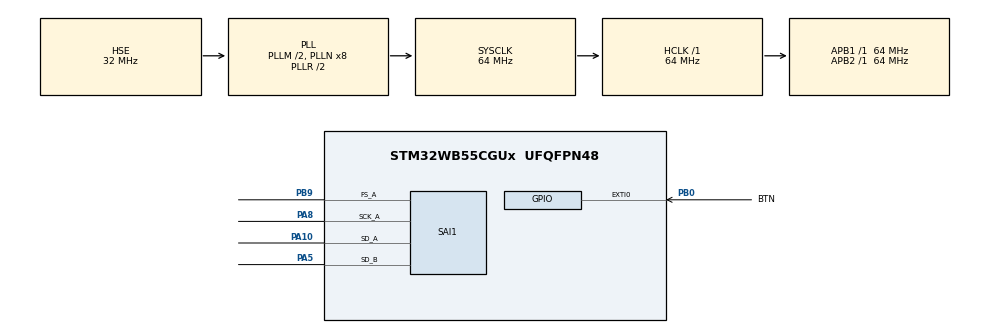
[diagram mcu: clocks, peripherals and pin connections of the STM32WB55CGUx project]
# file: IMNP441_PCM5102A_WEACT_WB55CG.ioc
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Dma.Request0=SAI1_A
Dma.Request1=SAI1_B
Dma.SAI1_A.0.Direction=DMA_MEMORY_TO_PERIPH
Dma.SAI1_A.0.EventEnable=DISABLE
Dma.SAI1_A.0.Instance=DMA1_Channel1
Dma.SAI1_A.0.MemDataAlignment=DMA_MDATAALIGN_WORD
Dma.SAI1_A.0.MemInc=DMA_MINC_ENABLE
Dma.SAI1_A.0.Mode=DMA_CIRCULAR
Dma.SAI1_A.0.PeriphDataAlignment=DMA_PDATAALIGN_WORD
Dma.SAI1_A.0.PeriphInc=DMA_PINC_DISABLE
Dma.SAI1_A.0.Polarity=HAL_DMAMUX_REQ_GEN_RISING
Dma.SAI1_A.0.Priority=DMA_PRIORITY_HIGH
Dma.SAI1_A.0.RequestNumber=1
Dma.SAI1_A.0.SignalID=NONE
Dma.SAI1_A.0.SyncEnable=DISABLE
Dma.SAI1_A.0.SyncPolarity=HAL_DMAMUX_SYNC_NO_EVENT
Dma.SAI1_A.0.SyncRequestNumber=1
Dma.SAI1_A.0.SyncSignalID=NONE
Dma.SAI1_B.1.Direction=DMA_PERIPH_TO_MEMORY
Dma.SAI1_B.1.EventEnable=DISABLE
Dma.SAI1_B.1.Instance=DMA1_Channel2
Dma.SAI1_B.1.MemDataAlignment=DMA_MDATAALIGN_WORD
Dma.SAI1_B.1.MemInc=DMA_MINC_ENABLE
Dma.SAI1_B.1.Mode=DMA_CIRCULAR
Dma.SAI1_B.1.PeriphDataAlignment=DMA_PDATAALIGN_WORD
Dma.SAI1_B.1.PeriphInc=DMA_PINC_DISABLE
Dma.SAI1_B.1.Polarity=HAL_DMAMUX_REQ_GEN_RISING
Dma.SAI1_B.1.Priority=DMA_PRIORITY_LOW
Dma.SAI1_B.1.RequestNumber=1
Dma.SAI1_B.1.SignalID=NONE
Dma.SAI1_B.1.SyncEnable=DISABLE
Dma.SAI1_B.1.SyncPolarity=HAL_DMAMUX_SYNC_NO_EVENT
Dma.SAI1_B.1.SyncRequestNumber=1
Dma.SAI1_B.1.SyncSignalID=NONE
Mcu.Family=STM32WB
Mcu.Name=STM32WB55CGUx
Mcu.Package=UFQFPN48
NVIC.DMA1_Channel1_IRQn=true\:0\:0\:false\:false\:true\:false\:true\:true
NVIC.DMA1_Channel2_IRQn=true\:0\:0\:false\:false\:true\:false\:true\:true
NVIC.EXTI0_IRQn=true\:0\:0\:false\:false\:true\:true\:true\:true
NVIC.PriorityGroup=NVIC_PRIORITYGROUP_4
OSC_IN.Mode=HSE-External-Oscillator
OSC_IN.Signal=RCC_OSC_IN
OSC_OUT.Mode=HSE-External-Oscillator
OSC_OUT.Signal=RCC_OSC_OUT
PA10.Mode=SAI_A_Master
PA10.Signal=SAI1_SD_A
PA5.Mode=SAI_B_SyncSlave
PA5.Signal=SAI1_SD_B
PA8.Mode=SAI_A_Master
PA8.Signal=SAI1_SCK_A
PB0.GPIO_Label=BTN
PB0.GPIO_ModeDefaultEXTI=GPIO_MODE_IT_RISING_FALLING
PB0.GPIO_PuPd=GPIO_PULLDOWN
PB0.Signal=GPXTI0
PB9.Mode=SAI_A_Master
PB9.Signal=SAI1_FS_A
ProjectManager.HeapSize=0x200
ProjectManager.StackSize=0x400
ProjectManager.TargetToolchain=STM32CubeIDE
RCC.ADCFreq_Value=64000000
RCC.AHB2CLKDivider=RCC_SYSCLK_DIV2
RCC.AHBFreq_Value=64000000
RCC.APB1Freq_Value=64000000
RCC.APB1TimFreq_Value=64000000
RCC.APB2Freq_Value=64000000
RCC.APB2TimFreq_Value=64000000
RCC.APB3Freq_Value=16000000
RCC.Cortex2_Div=SYSTICK_CLKSOURCE_HCLK_DIV8
RCC.CortexFreq_Value=64000000
RCC.HCLKFreq_Value=64000000
RCC.HSE_VALUE=32000000
RCC.HSI48_VALUE=48000000
RCC.HSI_VALUE=16000000
RCC.LSE_VALUE=32768
RCC.PLLM=RCC_PLLM_DIV2
RCC.PLLSourceVirtual=RCC_PLLSOURCE_HSE
RCC.SYSCLKFreq_VALUE=64000000
RCC.SYSCLKSource=RCC_SYSCLKSOURCE_PLLCLK
RCC.USBFreq_Value=64000000
RCC.VCOOutputFreq_Value=128000000
SAI1.AudioFrequency-SAI_A_Master=SAI_AUDIO_FREQUENCY_16K
SAI1.AudioMode-SAI_A_Master=SAI_MODEMASTER_TX
SAI1.BasicDataSize-SAI_A_Master=SAI_PROTOCOL_DATASIZE_32BIT
SAI1.BasicDataSize-SAI_B_SyncSlave=SAI_PROTOCOL_DATASIZE_32BIT
SAI1.ErrorAudioFreq-SAI_A_Master=-2.34 %
SAI1.FIFOThreshold-SAI_A_Master=SAI_FIFOTHRESHOLD_HF
SAI1.FIFOThreshold-SAI_B_SyncSlave=SAI_FIFOTHRESHOLD_HF
SAI1.InitProtocol-SAI_A_Master=Enable
SAI1.InitProtocol-SAI_B_SyncSlave=Enable
SAI1.Instance-SAI_A_Master=SAI$Index_Block_A
SAI1.Instance-SAI_B_SyncSlave=SAI$Index_Block_B
SAI1.MClockEnable-SAI_A_Master=SAI_MASTERCLOCK_DISABLE
SAI1.OutputDrive-SAI_A_Master=SAI_OUTPUTDRIVE_ENABLE
SAI1.RealAudioFreq-SAI_A_Master=15.625 KHz
SAI1.VirtualMode-SAI_A_Master=VM_MASTER
SAI1.VirtualMode-SAI_B_SyncSlave=VM_SLAVE
SAI1.VirtualProtocol-SAI_A_BASIC=VM_BASIC_PROTOCOL
SAI1.VirtualProtocol-SAI_B_BASIC=VM_BASIC_PROTOCOL
VP_MEMORYMAP_VS_MEMORYMAP.Mode=CurAppReg
VP_SAI1_VP_$IpInstance_SAIA_SAI_BASIC.Mode=SAI_A_BASIC
VP_SAI1_VP_$IpInstance_SAIB_SAI_BASIC.Mode=SAI_B_BASIC
board=custom

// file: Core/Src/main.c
/* USER CODE BEGIN Header */
/**
  ******************************************************************************
  * @file           : main.c
  * @brief          : Main program body
  ******************************************************************************
  * @attention
  *
  * Copyright (c) 2026 STMicroelectronics.
  * All rights reserved.
  *
  * This software is licensed under terms that can be found in the LICENSE file
  * in the root directory of this software component.
  * If no LICENSE file comes with this software, it is provided AS-IS.
  *
  ******************************************************************************
  */
/* USER CODE END Header */
#include "main.h"

/* USER CODE BEGIN Includes */
#include <stdbool.h>
#include <string.h>
/* USER CODE END Includes */

/* USER CODE BEGIN PTD */

typedef enum {
  AUDIO_IDLE      = 0,
  AUDIO_RECORDING = 1,
  AUDIO_PLAYBACK  = 2,
} AudioState_t;

typedef struct {
  AudioState_t state;
  uint32_t    head;   /* next write index in record_buf */
  uint32_t    length; /* frozen length after recording ends */
  uint32_t    pos;    /* next read index during playback */
} Audio_t;

/* Mono 16 kHz capture, 32-bit samples. 2.5 s of recording = 160 KB.
 * Lower RECORD_LEN if the linker reports RAM overflow. */
#define RECORD_LEN            40000U

/* Each DMA half is 128 int32_t = 64 stereo frames at 32-bit I2S. */
#define HALF_BUF_LEN          128U
#define HALF_BUF_FRAMES       (HALF_BUF_LEN / 2U)

typedef struct {
  int32_t mic[HALF_BUF_LEN * 2U];   /* double-buffer, 2 halves for DMA ping-pong */
  int32_t tx [HALF_BUF_LEN * 2U];
  int32_t record[RECORD_LEN];
} AudioBuffer_t;

typedef struct {
  uint8_t level;      /* current reading, updated by EXTI */
  uint8_t prev_level; /* previous reading, for edge detection */
} Button_t;

/* USER CODE END PTD */

/* USER CODE BEGIN PD */

#define BTN_ACTIVE_LEVEL      GPIO_PIN_SET   /* PB0 reads HIGH when pressed */

/* USER CODE END PD */

SAI_HandleTypeDef hsai_BlockA1;
SAI_HandleTypeDef hsai_BlockB1;
DMA_HandleTypeDef hdma_sai1_a;
DMA_HandleTypeDef hdma_sai1_b;

/* USER CODE BEGIN PV */
AudioBuffer_t audio_buf = { 0 };

/* Shared between main loop, SAI RX callbacks, and EXTI callback.
 * volatile is needed for fields written by ISRs and read by main loop;
 * 32-bit aligned word access is atomic on Cortex-M4. */
volatile Audio_t  audio   = { .state = AUDIO_IDLE, .head = 0U, .length = 0U, .pos = 0U };
volatile Button_t button  = { .level = 0U, .prev_level = 0U };
/* USER CODE END PV */

void SystemClock_Config(void);
void PeriphCommonClock_Config(void);
static void MX_GPIO_Init(void);
static void MX_DMA_Init(void);
static void MX_SAI1_Init(void);

/* USER CODE BEGIN 0 */

void HAL_GPIO_EXTI_Callback(uint16_t GPIO_Pin)
{
  if (GPIO_Pin == BTN_Pin) {
    button.level = (HAL_GPIO_ReadPin(BTN_GPIO_Port, BTN_Pin) == BTN_ACTIVE_LEVEL) ? 1U : 0U;
  }
}

/* USER CODE END 0 */

int main(void)
{

  /* MCU Configuration--------------------------------------------------------*/

  /* Reset of all peripherals, Initializes the Flash interface and the Systick. */
  HAL_Init();

  /* Configure the system clock */
  SystemClock_Config();

  /* Configure the peripherals common clocks */
  PeriphCommonClock_Config();

  /* Initialize all configured peripherals */
  MX_GPIO_Init();
  MX_DMA_Init();
  MX_SAI1_Init();
  /* USER CODE BEGIN 2 */

  /* PB0 is already configured as a pull-down input by MX_GPIO_Init. */
  memset(audio_buf.tx, 0, sizeof(audio_buf.tx));

  HAL_SAI_Transmit_DMA(&hsai_BlockA1, (uint8_t *)audio_buf.tx, HALF_BUF_LEN * 2U);
  HAL_SAI_Receive_DMA(&hsai_BlockB1, (uint8_t *)audio_buf.mic, HALF_BUF_LEN * 2U);

  /* USER CODE END 2 */

  /* Infinite loop */
  /* USER CODE BEGIN WHILE */
  while (1)
  {
    /* button.level is updated by HAL_GPIO_EXTI_Callback. Reads here are atomic. */
    const uint8_t level       = button.level;
    const uint8_t prev_level  = button.prev_level;
    const bool    pressed     = (level == 1U) && (prev_level == 0U);
    const bool    released    = (level == 0U) && (prev_level == 1U);

    if (pressed && (audio.state == AUDIO_IDLE)) {
      audio.head  = 0U;
      audio.state = AUDIO_RECORDING;
    }
    else if (released && (audio.state == AUDIO_RECORDING)) {
      audio.length = audio.head;
      audio.pos    = 0U;
      audio.state  = AUDIO_PLAYBACK;
    }
    else if ((audio.state == AUDIO_PLAYBACK) && (audio.pos >= audio.length)) {
      audio.state = AUDIO_IDLE;
    }

    button.prev_level = level;

    /* Sleep until the next button edge or SAI half-transfer event. */
    __WFI();

    /* USER CODE END WHILE */

  }
}

void SystemClock_Config(void)
{
  RCC_OscInitTypeDef RCC_OscInitStruct = {0};
  RCC_ClkInitTypeDef RCC_ClkInitStruct = {0};

  /** Configure the main internal regulator output voltage
  */
  __HAL_PWR_VOLTAGESCALING_CONFIG(PWR_REGULATOR_VOLTAGE_SCALE1);

  /** Initializes the RCC Oscillators according to the specified parameters
  * in the RCC_OscInitTypeDef structure.
  */
  RCC_OscInitStruct.OscillatorType = RCC_OSCILLATORTYPE_HSI|RCC_OSCILLATORTYPE_HSE;
  RCC_OscInitStruct.HSEState = RCC_HSE_ON;
  RCC_OscInitStruct.HSIState = RCC_HSI_ON;
  RCC_OscInitStruct.HSICalibrationValue = RCC_HSICALIBRATION_DEFAULT;
  RCC_OscInitStruct.PLL.PLLState = RCC_PLL_ON;
  RCC_OscInitStruct.PLL.PLLSource = RCC_PLLSOURCE_HSE;
  RCC_OscInitStruct.PLL.PLLM = RCC_PLLM_DIV2;
  RCC_OscInitStruct.PLL.PLLN = 8;
  RCC_OscInitStruct.PLL.PLLP = RCC_PLLP_DIV2;
  RCC_OscInitStruct.PLL.PLLR = RCC_PLLR_DIV2;
  RCC_OscInitStruct.PLL.PLLQ = RCC_PLLQ_DIV2;
  if (HAL_RCC_OscConfig(&RCC_OscInitStruct) != HAL_OK)
  {
    Error_Handler();
  }

  /** Configure the SYSCLKSource, HCLK, PCLK1 and PCLK2 clocks dividers
  */
  RCC_ClkInitStruct.ClockType = RCC_CLOCKTYPE_HCLK4|RCC_CLOCKTYPE_HCLK2
                              |RCC_CLOCKTYPE_HCLK|RCC_CLOCKTYPE_SYSCLK
                              |RCC_CLOCKTYPE_PCLK1|RCC_CLOCKTYPE_PCLK2;
  RCC_ClkInitStruct.SYSCLKSource = RCC_SYSCLKSOURCE_PLLCLK;
  RCC_ClkInitStruct.AHBCLKDivider = RCC_SYSCLK_DIV1;
  RCC_ClkInitStruct.APB1CLKDivider = RCC_HCLK_DIV1;
  RCC_ClkInitStruct.APB2CLKDivider = RCC_HCLK_DIV1;
  RCC_ClkInitStruct.AHBCLK2Divider = RCC_SYSCLK_DIV2;
  RCC_ClkInitStruct.AHBCLK4Divider = RCC_SYSCLK_DIV1;

  if (HAL_RCC_ClockConfig(&RCC_ClkInitStruct, FLASH_LATENCY_3) != HAL_OK)
  {
    Error_Handler();
  }
}

void PeriphCommonClock_Config(void)
{
  RCC_PeriphCLKInitTypeDef PeriphClkInitStruct = {0};

  /** Initializes the peripherals clock
  */
  PeriphClkInitStruct.PeriphClockSelection = RCC_PERIPHCLK_SMPS|RCC_PERIPHCLK_SAI1;
  PeriphClkInitStruct.PLLSAI1.PLLN = 8;
  PeriphClkInitStruct.PLLSAI1.PLLP = RCC_PLLP_DIV2;
  PeriphClkInitStruct.PLLSAI1.PLLQ = RCC_PLLQ_DIV2;
  PeriphClkInitStruct.PLLSAI1.PLLR = RCC_PLLR_DIV2;
  PeriphClkInitStruct.PLLSAI1.PLLSAI1ClockOut = RCC_PLLSAI1_SAI1CLK;
  PeriphClkInitStruct.Sai1ClockSelection = RCC_SAI1CLKSOURCE_PLLSAI1;
  PeriphClkInitStruct.SmpsClockSelection = RCC_SMPSCLKSOURCE_HSI;
  PeriphClkInitStruct.SmpsDivSelection = RCC_SMPSCLKDIV_RANGE1;

  if (HAL_RCCEx_PeriphCLKConfig(&PeriphClkInitStruct) != HAL_OK)
  {
    Error_Handler();
  }
}

static void MX_SAI1_Init(void)
{

  hsai_BlockA1.Instance = SAI1_Block_A;
  hsai_BlockA1.Init.AudioMode = SAI_MODEMASTER_TX;
  hsai_BlockA1.Init.Synchro = SAI_ASYNCHRONOUS;
  hsai_BlockA1.Init.OutputDrive = SAI_OUTPUTDRIVE_ENABLE;
  hsai_BlockA1.Init.NoDivider = SAI_MASTERDIVIDER_ENABLE;
  hsai_BlockA1.Init.MckOverSampling = SAI_MCK_OVERSAMPLING_DISABLE;
  hsai_BlockA1.Init.FIFOThreshold = SAI_FIFOTHRESHOLD_HF;
  hsai_BlockA1.Init.AudioFrequency = SAI_AUDIO_FREQUENCY_16K;
  hsai_BlockA1.Init.SynchroExt = SAI_SYNCEXT_DISABLE;
  hsai_BlockA1.Init.MonoStereoMode = SAI_STEREOMODE;
  hsai_BlockA1.Init.CompandingMode = SAI_NOCOMPANDING;
  hsai_BlockA1.Init.TriState = SAI_OUTPUT_NOTRELEASED;
  if (HAL_SAI_InitProtocol(&hsai_BlockA1, SAI_I2S_STANDARD, SAI_PROTOCOL_DATASIZE_32BIT, 2) != HAL_OK)
  {
    Error_Handler();
  }
  hsai_BlockB1.Instance = SAI1_Block_B;
  hsai_BlockB1.Init.AudioMode = SAI_MODESLAVE_RX;
  hsai_BlockB1.Init.Synchro = SAI_SYNCHRONOUS;
  hsai_BlockB1.Init.OutputDrive = SAI_OUTPUTDRIVE_DISABLE;
  hsai_BlockB1.Init.FIFOThreshold = SAI_FIFOTHRESHOLD_HF;
  hsai_BlockB1.Init.SynchroExt = SAI_SYNCEXT_DISABLE;
  hsai_BlockB1.Init.MonoStereoMode = SAI_STEREOMODE;
  hsai_BlockB1.Init.CompandingMode = SAI_NOCOMPANDING;
  hsai_BlockB1.Init.TriState = SAI_OUTPUT_NOTRELEASED;
  if (HAL_SAI_InitProtocol(&hsai_BlockB1, SAI_I2S_STANDARD, SAI_PROTOCOL_DATASIZE_32BIT, 2) != HAL_OK)
  {
    Error_Handler();
  }

}

static void MX_DMA_Init(void)
{

  /* DMA controller clock enable */
  __HAL_RCC_DMAMUX1_CLK_ENABLE();
  __HAL_RCC_DMA1_CLK_ENABLE();

  /* DMA interrupt init */
  /* DMA1_Channel1_IRQn interrupt configuration */
  HAL_NVIC_SetPriority(DMA1_Channel1_IRQn, 0, 0);
  HAL_NVIC_EnableIRQ(DMA1_Channel1_IRQn);
  /* DMA1_Channel2_IRQn interrupt configuration */
  HAL_NVIC_SetPriority(DMA1_Channel2_IRQn, 0, 0);
  HAL_NVIC_EnableIRQ(DMA1_Channel2_IRQn);

}

static void MX_GPIO_Init(void)
{
  GPIO_InitTypeDef GPIO_InitStruct = {0};

  /* GPIO Ports Clock Enable */
  __HAL_RCC_GPIOB_CLK_ENABLE();
  __HAL_RCC_GPIOA_CLK_ENABLE();

  /*Configure GPIO pin : BTN_Pin */
  GPIO_InitStruct.Pin = BTN_Pin;
  GPIO_InitStruct.Mode = GPIO_MODE_IT_RISING_FALLING;
  GPIO_InitStruct.Pull = GPIO_PULLDOWN;
  HAL_GPIO_Init(BTN_GPIO_Port, &GPIO_InitStruct);

  /* EXTI interrupt init*/
  HAL_NVIC_SetPriority(EXTI0_IRQn, 0, 0);
  HAL_NVIC_EnableIRQ(EXTI0_IRQn);

}

/* USER CODE BEGIN 4 */

static inline void Audio_FillSilence(int32_t *tx_half)
{
  for (uint32_t i = 0U; i < HALF_BUF_LEN; i++) { tx_half[i] = 0; }
}

/* Called from SAI half- and full-transfer callbacks. Each call processes
 * one half of the ping-pong DMA buffer (HALF_BUF_FRAMES stereo frames). */
static void Audio_OnMicHalf(const int32_t *mic_half, int32_t *tx_half)
{
  switch (audio.state) {

  case AUDIO_RECORDING: {
    /* Copy L channel of each stereo frame into record, then silence the DAC. */
    const uint32_t room = RECORD_LEN - audio.head;
    const uint32_t n    = (HALF_BUF_FRAMES < room) ? HALF_BUF_FRAMES : room;
    for (uint32_t i = 0U; i < n; i++) {
      audio_buf.record[audio.head + i] = mic_half[2U * i];
    }
    audio.head += n;
    Audio_FillSilence(tx_half);
    break;
  }

  case AUDIO_PLAYBACK: {
    /* Mono-to-stereo: emit each recorded sample in both L and R slots. */
    for (uint32_t i = 0U; i < HALF_BUF_FRAMES; i++) {
      const int32_t s = (audio.pos < audio.length) ? audio_buf.record[audio.pos++] : 0;
      tx_half[2U * i]      = s;
      tx_half[2U * i + 1U] = s;
    }
    break;
  }

  default: /* IDLE */
    Audio_FillSilence(tx_half);
    break;
  }
}

void HAL_SAI_RxCpltCallback(SAI_HandleTypeDef *hsai)
{
  if (hsai->Instance == SAI1_Block_B) {
    Audio_OnMicHalf(&audio_buf.mic[HALF_BUF_LEN], &audio_buf.tx[HALF_BUF_LEN]);
  }
}

void HAL_SAI_RxHalfCpltCallback(SAI_HandleTypeDef *hsai)
{
  if (hsai->Instance == SAI1_Block_B) {
    Audio_OnMicHalf(&audio_buf.mic[0], &audio_buf.tx[0]);
  }
}
/* USER CODE END 4 */

void Error_Handler(void)
{
  __disable_irq();
  while (1)
  {
  }
}
